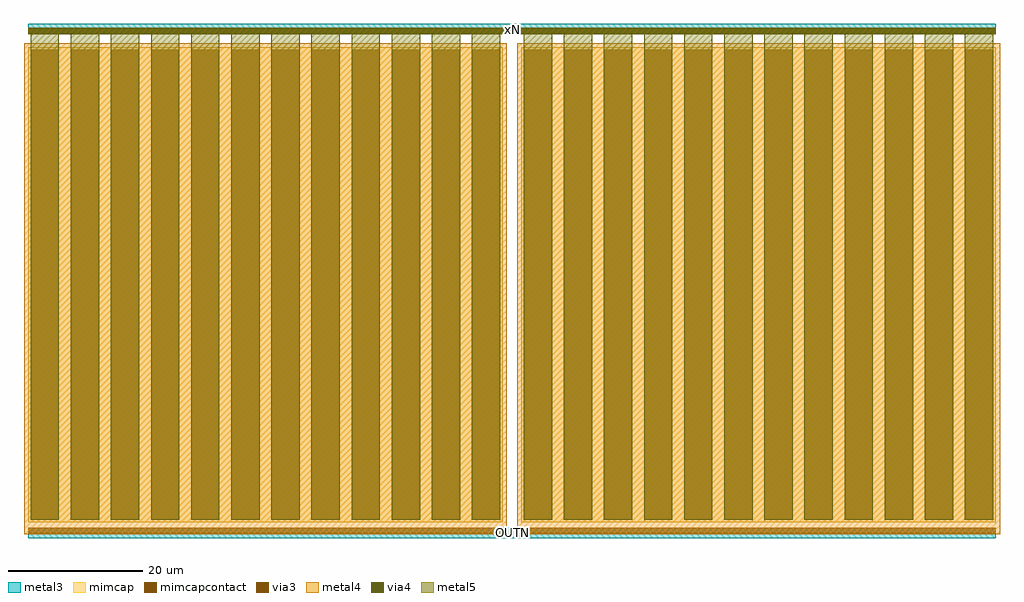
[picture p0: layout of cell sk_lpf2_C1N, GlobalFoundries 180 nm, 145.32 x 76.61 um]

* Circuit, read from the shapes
.subckt sk_lpf2_C1N xN OUTN
XC1 xN OUTN cap_mim_2f0fF c_width=70.71u c_length=70.71u m=2
.ends

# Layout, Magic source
magic
tech gf180mcuD
magscale 1 10
<< metal3 >>
rect 0 -340 14142 -160
rect 14682 -340 28824 -160
rect 0 14522 28824 14722
rect 0 14522 28824 14842
rect 0 14522 28824 14842
rect 0 -480 28824 -160
rect 0 -480 28824 -160
<< metal4 >>
rect -120 -360 14262 14262
rect 0 -340 14142 -160
rect 14562 -360 28944 14262
rect 14682 -340 28824 -160
rect 0 14522 28824 14722
rect 0 14522 28824 14722
<< mimcap >>
rect 0 0 14142 14142
rect 14682 0 28824 14142
<< metal5 >>
rect 78 78 922 14622
rect 1273 78 2117 14622
rect 2467 78 3311 14622
rect 3662 78 4506 14622
rect 4856 78 5700 14622
rect 6051 78 6895 14622
rect 7246 78 8090 14622
rect 8440 78 9284 14622
rect 9635 78 10479 14622
rect 10829 78 11673 14622
rect 12024 78 12868 14622
rect 13219 78 14063 14622
rect 14760 78 15604 14622
rect 15955 78 16799 14622
rect 17149 78 17993 14622
rect 18344 78 19188 14622
rect 19538 78 20382 14622
rect 20733 78 21577 14622
rect 21928 78 22772 14622
rect 23122 78 23966 14622
rect 24317 78 25161 14622
rect 25511 78 26355 14622
rect 26706 78 27550 14622
rect 27901 78 28745 14622
rect 0 14522 28824 14722
rect 0 14522 28824 14722
<< via3 >>
rect 10 -330 14132 -170
rect 14692 -330 28814 -170
rect 10 14532 28814 14712
<< via4 >>
rect 10 14532 28814 14712
<< mimcapcontact >>
rect 78 78 922 14064
rect 1273 78 2117 14064
rect 2467 78 3311 14064
rect 3662 78 4506 14064
rect 4856 78 5700 14064
rect 6051 78 6895 14064
rect 7246 78 8090 14064
rect 8440 78 9284 14064
rect 9635 78 10479 14064
rect 10829 78 11673 14064
rect 12024 78 12868 14064
rect 13219 78 14063 14064
rect 14760 78 15604 14064
rect 15955 78 16799 14064
rect 17149 78 17993 14064
rect 18344 78 19188 14064
rect 19538 78 20382 14064
rect 20733 78 21577 14064
rect 21928 78 22772 14064
rect 23122 78 23966 14064
rect 24317 78 25161 14064
rect 25511 78 26355 14064
rect 26706 78 27550 14064
rect 27901 78 28745 14064
<< labels >>
flabel metal3 s 0 14522 28824 14842 0 FreeSans 80 0 0 0 xN
port 1 nsew signal bidirectional
flabel metal3 s 0 -480 28824 -160 0 FreeSans 80 0 0 0 OUTN
port 2 nsew signal bidirectional
<< end >>
